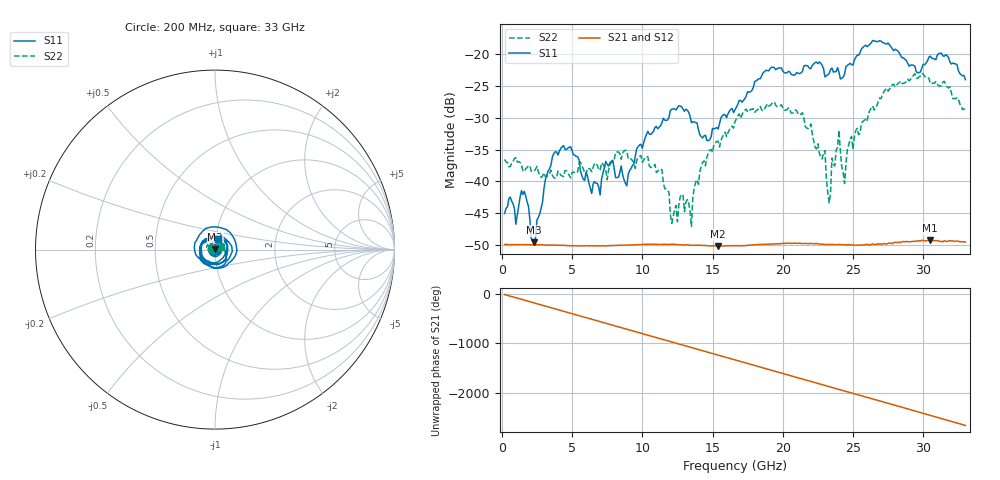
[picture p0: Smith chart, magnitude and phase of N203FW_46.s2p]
# GHZ S RI R 50
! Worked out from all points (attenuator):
!   329 points, 200 MHz to 33 GHz, reference 50 ohm
!   highest |S21| = -49.26 dB at 30.5 GHz (marker M1); lowest = -50.2 dB at 15.4 GHz (marker M2)
!   lowest |S11| = -49.6 dB at 2.3 GHz (marker M3), VSWR 1.01, Z = 50.1 + j0.324 ohm
!   |S11| at or under -10 dB: start of sweep to end of sweep
!   |S22| runs from -47.1 to -23.0 dB; largest |S21 - S12| = 8.9e-05
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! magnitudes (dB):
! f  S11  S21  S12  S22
! 200 MHz  -45.1  -49.9  -49.9  -36.5
! 1.6 GHz  -41.6  -50.0  -49.9  -38.5
! 2.3 GHz  -49.6  -50.0  -50.0  -38.3
! 3.7 GHz  -35.6  -50.1  -50.0  -39.4
! 5.7 GHz  -39.1  -50.1  -50.1  -37.6
! 8.9 GHz  -40.7  -50.0  -50.0  -35.2
! 11.2 GHz  -31.5  -49.9  -49.9  -38.1
! 12.1 GHz  -28.6  -49.9  -49.9  -46.6
! 12.9 GHz  -28.6  -50.0  -50.0  -42.1
! 13.5 GHz  -30.8  -50.1  -50.1  -47.1
! 13.8 GHz  -30.7  -50.1  -50.1  -40.1
! 15.4 GHz  -31.8  -50.2  -50.2  -33.7
! 16.6 GHz  -28.7  -50.1  -50.1  -30.6
! 22.1 GHz  -21.7  -49.8  -49.8  -32.6
! 23 GHz  -23.5  -50.0  -49.9  -35.1
! 23.3 GHz  -23.1  -49.9  -49.9  -43.4
! 24 GHz  -22.8  -49.9  -49.9  -31.9
! 24.4 GHz  -23.1  -50.0  -49.9  -40.3
! 24.8 GHz  -21.4  -50.0  -50.0  -33.3
! 27.6 GHz  -18.5  -49.7  -49.7  -25.5
! 30.5 GHz  -20.3  -49.3  -49.3  -24.6
! 33 GHz  -24.0  -49.6  -49.6  -28.8
